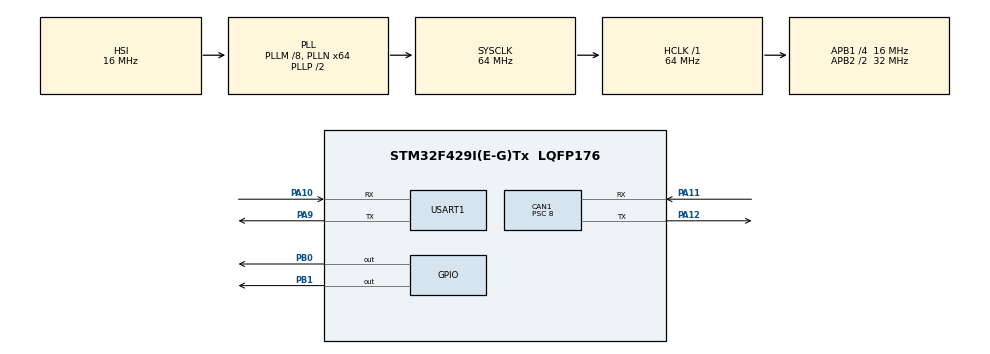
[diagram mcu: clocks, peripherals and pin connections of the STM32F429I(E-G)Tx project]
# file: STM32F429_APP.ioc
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CAN1.BS1=CAN_BS1_2TQ
CAN1.CalculateBaudRate=500000
CAN1.CalculateTimeBit=2000.00
CAN1.CalculateTimeQuantum=500.0
CAN1.Prescaler=8
Mcu.Family=STM32F4
Mcu.Name=STM32F429I(E-G)Tx
Mcu.Package=LQFP176
NVIC.CAN1_RX0_IRQn=true\:0\:0\:false\:false\:true\:true\:true
NVIC.PriorityGroup=NVIC_PRIORITYGROUP_4
PA10.Mode=Asynchronous
PA10.Signal=USART1_RX
PA11.Mode=CAN_Activate
PA11.Signal=CAN1_RX
PA12.Mode=CAN_Activate
PA12.Signal=CAN1_TX
PA13.Mode=Serial_Wire
PA13.Signal=SYS_JTMS-SWDIO
PA14.Mode=Serial_Wire
PA14.Signal=SYS_JTCK-SWCLK
PA9.Mode=Asynchronous
PA9.Signal=USART1_TX
PB0.Signal=GPIO_Output
PB1.Signal=GPIO_Output
ProjectManager.HeapSize=0x200
ProjectManager.StackSize=0x400
ProjectManager.TargetToolchain=MDK-ARM V5.32
RCC.48MHZClocksFreq_Value=32000000
RCC.AHBFreq_Value=64000000
RCC.APB1CLKDivider=RCC_HCLK_DIV4
RCC.APB1Freq_Value=16000000
RCC.APB1TimFreq_Value=32000000
RCC.APB2CLKDivider=RCC_HCLK_DIV2
RCC.APB2Freq_Value=32000000
RCC.APB2TimFreq_Value=64000000
RCC.CortexFreq_Value=64000000
RCC.HCLKFreq_Value=64000000
RCC.HSE_VALUE=25000000
RCC.HSI_VALUE=16000000
RCC.LSE_VALUE=32768
RCC.PLLM=8
RCC.PLLN=64
RCC.SYSCLKFreq_VALUE=64000000
RCC.SYSCLKSource=RCC_SYSCLKSOURCE_PLLCLK
RCC.VCOOutputFreq_Value=128000000
USART1.VirtualMode=VM_ASYNC
board=custom

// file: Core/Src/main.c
/* USER CODE BEGIN Header */
/**
  ******************************************************************************
  * @file           : main.c
  * @brief          : Main program body
  ******************************************************************************
  * @attention
  *
  * <h2><center>&copy; Copyright (c) 2024 STMicroelectronics.
  * All rights reserved.</center></h2>
  *
  * This software component is licensed by ST under BSD 3-Clause license,
  * the "License"; You may not use this file except in compliance with the
  * License. You may obtain a copy of the License at:
  *                        opensource.org/licenses/BSD-3-Clause
  *
  ******************************************************************************
  */
/* USER CODE END Header */
#include "main.h"
#include "can.h"
#include "usart.h"
#include "gpio.h"

/* USER CODE BEGIN Includes */
#include "stmflash.h"
#include "bootloader_main.h"

#include "can_driver.h"
/* USER CODE END Includes */

/* USER CODE BEGIN PTD */

void SendMsgMainFun(void)
{
    uint8 aucMsgBuf[8u];
    uint32 msgId = 0u;
    uint32 msgLength = 0u;

    /* Get message from TP */
    if (TRUE == TP_DriverReadDataFromTP(8u, &aucMsgBuf[0u], &msgId, &msgLength))
    {
        TransmitCANMsg(msgId, msgLength, aucMsgBuf, &TP_DoTxMsgSuccesfulCallback, 0u);
    }
}

static void BSP_AbortCANTxMsg(void)
{

}
/* USER CODE END PTD */

void SystemClock_Config(void);

/* USER CODE BEGIN 0 */
uint32_t TX_Buffer[3] = {0x01, 0x02, 0x03};
uint32_t RX_Buffer[3];
#define FLASH_SAVE_ADDR  0X08080000 	//设置FLASH 保存地址(必须为4的倍数，且所在扇区,要大于本代码所占用到的扇区.
										//否则,写操作的时候,可能会导致擦除整个扇区,从而引起部分程序丢失.引起死机.

typedef void (*pFunction)(void);
void BOOT_JumpToApplication(uint32_t Addr)
{
  static pFunction Jump_To_Application;
  __IO uint32_t JumpAddress;
  /* Test if user code is programmed starting from address "ApplicationAddress" */
  if (((*(__IO uint32_t*)Addr) & 0x2FFE0000 ) == 0x20000000)
  {
    /* Jump to user application */
    JumpAddress = *(__IO uint32_t*) (Addr + 4);//复位中断的地址
    Jump_To_Application = (pFunction) JumpAddress;
    __set_PRIMASK(1);//关闭所有中断
    /* Initialize user application's Stack Pointer */
    __set_MSP(*(__IO uint32_t*)Addr);//初始化栈顶指针
    Jump_To_Application();
  }
}

/* USER CODE END 0 */

int main(void)
{

  /* MCU Configuration--------------------------------------------------------*/

  /* Reset of all peripherals, Initializes the Flash interface and the Systick. */
  HAL_Init();

  /* Configure the system clock */
  SystemClock_Config();

  /* Initialize all configured peripherals */
  MX_GPIO_Init();
  MX_CAN1_Init();
  MX_USART1_UART_Init();
  /* USER CODE BEGIN 2 */

//	STMFLASH_Read(FLASH_SAVE_ADDR,(uint32_t*)RX_Buffer,1);
//	printf("%d \r\n",RX_Buffer[0]);
//	HAL_Delay(500);
//	STMFLASH_Write(FLASH_SAVE_ADDR,(uint32_t*)TX_Buffer,1);
//	HAL_Delay(500);
//	STMFLASH_Read(FLASH_SAVE_ADDR,(uint32_t*)RX_Buffer,3);
//	printf("%d \r\n",RX_Buffer[0]);

	CAN_Cfg_Init();

	UDS_MAIN_Init(BSP_AbortCANTxMsg);
  /* USER CODE END 2 */

  /* Infinite loop */
  while (1)
  {

    /* USER CODE BEGIN 3 */
//		TransmitCANMsg(0x234,8,TxMsg,0,0);
//		HAL_Delay(500);
//		LED_RED_TOG;
//		printf("aaa\r\n");

		UDS_MAIN_Process();
		SendMsgMainFun();

  }
  /* USER CODE END 3 */
}

void SystemClock_Config(void)
{
  RCC_OscInitTypeDef RCC_OscInitStruct = {0};
  RCC_ClkInitTypeDef RCC_ClkInitStruct = {0};

  /** Configure the main internal regulator output voltage
  */
  __HAL_RCC_PWR_CLK_ENABLE();
  __HAL_PWR_VOLTAGESCALING_CONFIG(PWR_REGULATOR_VOLTAGE_SCALE3);
  /** Initializes the RCC Oscillators according to the specified parameters
  * in the RCC_OscInitTypeDef structure.
  */
  RCC_OscInitStruct.OscillatorType = RCC_OSCILLATORTYPE_HSI;
  RCC_OscInitStruct.HSIState = RCC_HSI_ON;
  RCC_OscInitStruct.HSICalibrationValue = RCC_HSICALIBRATION_DEFAULT;
  RCC_OscInitStruct.PLL.PLLState = RCC_PLL_ON;
  RCC_OscInitStruct.PLL.PLLSource = RCC_PLLSOURCE_HSI;
  RCC_OscInitStruct.PLL.PLLM = 8;
  RCC_OscInitStruct.PLL.PLLN = 64;
  RCC_OscInitStruct.PLL.PLLP = RCC_PLLP_DIV2;
  RCC_OscInitStruct.PLL.PLLQ = 4;
  if (HAL_RCC_OscConfig(&RCC_OscInitStruct) != HAL_OK)
  {
    Error_Handler();
  }
  /** Initializes the CPU, AHB and APB buses clocks
  */
  RCC_ClkInitStruct.ClockType = RCC_CLOCKTYPE_HCLK|RCC_CLOCKTYPE_SYSCLK
                              |RCC_CLOCKTYPE_PCLK1|RCC_CLOCKTYPE_PCLK2;
  RCC_ClkInitStruct.SYSCLKSource = RCC_SYSCLKSOURCE_PLLCLK;
  RCC_ClkInitStruct.AHBCLKDivider = RCC_SYSCLK_DIV1;
  RCC_ClkInitStruct.APB1CLKDivider = RCC_HCLK_DIV4;
  RCC_ClkInitStruct.APB2CLKDivider = RCC_HCLK_DIV2;

  if (HAL_RCC_ClockConfig(&RCC_ClkInitStruct, FLASH_LATENCY_2) != HAL_OK)
  {
    Error_Handler();
  }
}

void Error_Handler(void)
{
  __disable_irq();
  while (1)
  {
  }
}

/************************ (C) COPYRIGHT STMicroelectronics *****END OF FILE****/
